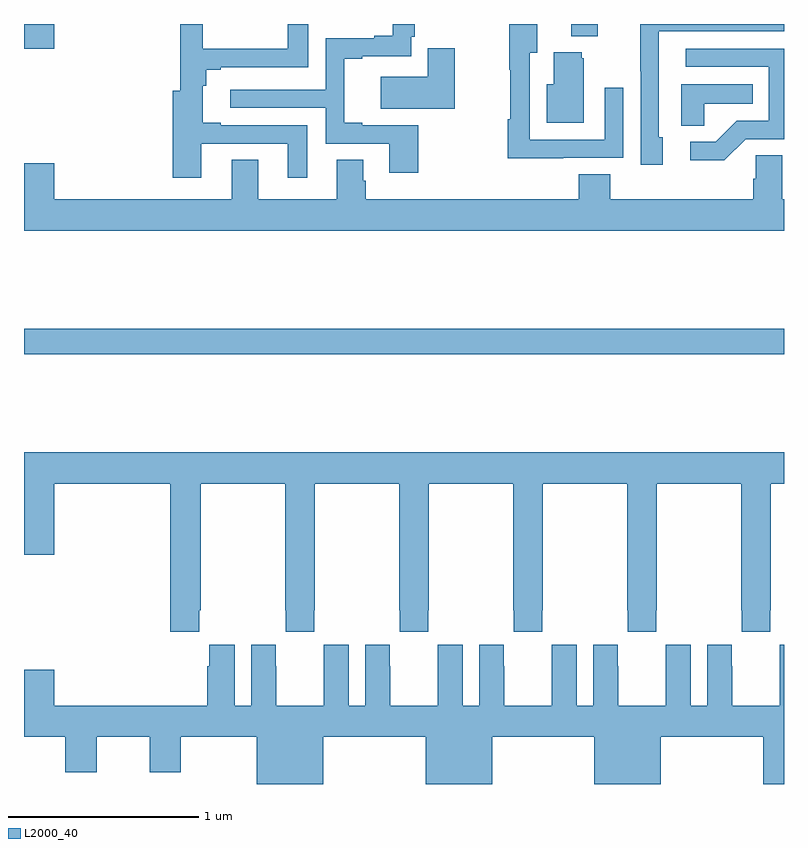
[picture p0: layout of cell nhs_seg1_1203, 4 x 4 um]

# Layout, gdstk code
import gdstk
lib = gdstk.Library(unit=1e-6, precision=1e-09)
def R(c, l, rs):  # rectangles x0, y0, x1, y1
    for r in rs: c.add(gdstk.rectangle(r[:2], r[2:], *l))
def P(c, l, *ps):  # polygons
    for p in ps: c.add(gdstk.Polygon(p, *l))
L2000_40 = (2000, 40)

nhs_seg1_1203 = lib.new_cell('nhs_seg1_1203')
R(nhs_seg1_1203, L2000_40, [(177,504.46,181,504.596), (177,506.07,177.16,506.199), (179.879,506.135,180.019,506.199)])
P(nhs_seg1_1203, L2000_40, [(179.837,505.494),(180.153,505.494),(180.153,505.864),(180.057,505.864),(180.057,505.59),(179.661,505.59),(179.661,506.047),(179.701,506.047),(179.701,506.199),(179.553,506.199),(179.553,505.958),(179.56,505.958),(179.56,505.697),(179.545,505.697),(179.545,505.493),(179.837,505.493)],
  [(180.361,505.602),(180.342,505.602),(180.342,506.16),(181,506.16),(181,506.199),(180.244,506.199),(180.244,505.951),(180.246,505.951),(180.246,505.458),(180.361,505.458)],
  [(177.934,505.569),(178.388,505.569),(178.388,505.389),(178.492,505.389),(178.492,505.665),(178.036,505.665),(178.036,505.678),(177.94,505.678),(177.94,505.874),(177.958,505.874),(177.958,505.959),(178.036,505.959),(178.036,505.971),(178.495,505.971),(178.495,506.199),(178.388,506.199),(178.388,506.068),(177.94,506.068),(177.94,506.199),(177.822,506.199),(177.822,505.849),(177.782,505.849),(177.782,505.389),(177.934,505.389)],
  [(179.075,505.665),(178.78,505.665),(178.78,505.678),(178.685,505.678),(178.685,506.016),(178.78,506.016),(178.78,506.028),(179.037,506.028),(179.037,506.131),(179.057,506.131),(179.057,506.199),(178.94,506.199),(178.94,506.137),(178.844,506.137),(178.844,506.124),(178.587,506.124),(178.587,505.854),(178.086,505.854),(178.086,505.758),(178.587,505.758),(178.587,505.569),(178.922,505.569),(178.922,505.416),(179.075,505.416)],
  [(179.266,506.071),(179.126,506.071),(179.126,505.921),(178.878,505.921),(178.878,505.754),(179.266,505.754)],
  [(180.798,505.593),(181,505.593),(181,506.07),(180.483,506.07),(180.483,505.974),(180.921,505.974),(180.921,505.689),(180.752,505.689),(180.641,505.578),(180.507,505.578),(180.507,505.481),(180.685,505.481)],
  [(179.947,506.019),(179.936,506.019),(179.936,506.05),(179.789,506.05),(179.789,505.882),(179.75,505.882),(179.75,505.679),(179.947,505.679)],
  [(180.579,505.778),(180.836,505.778),(180.836,505.882),(180.458,505.882),(180.458,505.663),(180.579,505.663)],
  [(181,505.276),(180.991,505.276),(180.991,505.508),(180.852,505.508),(180.852,505.385),(180.839,505.385),(180.839,505.276),(180.086,505.276),(180.086,505.409),(179.921,505.409),(179.921,505.276),(178.799,505.276),(178.799,505.374),(178.786,505.374),(178.786,505.484),(178.646,505.484),(178.646,505.276),(178.234,505.276),(178.234,505.484),(178.094,505.484),(178.094,505.276),(177.16,505.276),(177.16,505.465),(177,505.465),(177,505.112),(181,505.112)],
  [(177.923,503.113),(177.93,503.113),(177.93,503.78),(178.375,503.78),(178.375,503.113),(178.377,503.113),(178.377,503.001),(178.527,503.001),(178.527,503.113),(178.53,503.113),(178.53,503.78),(178.975,503.78),(178.975,503.113),(178.977,503.113),(178.977,503.001),(179.127,503.001),(179.127,503.113),(179.13,503.113),(179.13,503.78),(179.575,503.78),(179.575,503.113),(179.577,503.113),(179.577,503.001),(179.727,503.001),(179.727,503.113),(179.73,503.113),(179.73,503.78),(180.175,503.78),(180.175,503.113),(180.177,503.113),(180.177,503.001),(180.327,503.001),(180.327,503.113),(180.33,503.113),(180.33,503.78),(180.775,503.78),(180.775,503.113),(180.777,503.113),(180.777,503.001),(180.927,503.001),(180.927,503.113),(180.93,503.113),(180.93,503.78),(181,503.78),(181,503.944),(177,503.944),(177,503.406),(177.16,503.406),(177.16,503.78),(177.77,503.78),(177.77,503.001),(177.923,503.001)],
  [(178.576,502.448),(179.114,502.448),(179.114,502.199),(179.464,502.199),(179.464,502.448),(180.002,502.448),(180.002,502.199),(180.352,502.199),(180.352,502.448),(180.89,502.448),(180.89,502.199),(181,502.199),(181,502.933),(180.978,502.933),(180.978,502.82),(180.977,502.82),(180.977,502.612),(180.727,502.612),(180.727,502.82),(180.726,502.82),(180.726,502.933),(180.596,502.933),(180.596,502.612),(180.508,502.612),(180.508,502.933),(180.378,502.933),(180.378,502.82),(180.377,502.82),(180.377,502.612),(180.127,502.612),(180.127,502.82),(180.126,502.82),(180.126,502.933),(179.996,502.933),(179.996,502.612),(179.908,502.612),(179.908,502.933),(179.778,502.933),(179.778,502.82),(179.777,502.82),(179.777,502.612),(179.527,502.612),(179.527,502.82),(179.526,502.82),(179.526,502.933),(179.396,502.933),(179.396,502.612),(179.308,502.612),(179.308,502.933),(179.178,502.933),(179.178,502.82),(179.177,502.82),(179.177,502.612),(178.927,502.612),(178.927,502.82),(178.926,502.82),(178.926,502.933),(178.796,502.933),(178.796,502.612),(178.708,502.612),(178.708,502.933),(178.578,502.933),(178.578,502.82),(178.577,502.82),(178.577,502.612),(178.327,502.612),(178.327,502.82),(178.326,502.82),(178.326,502.933),(178.196,502.933),(178.196,502.612),(178.108,502.612),(178.108,502.933),(177.974,502.933),(177.974,502.82),(177.965,502.82),(177.965,502.612),(177.16,502.612),(177.16,502.801),(177,502.801),(177,502.448),(177.218,502.448),(177.218,502.26),(177.382,502.26),(177.382,502.448),(177.662,502.448),(177.662,502.26),(177.826,502.26),(177.826,502.448),(178.226,502.448),(178.226,502.199),(178.576,502.199)])

lib.write_gds('nhs_seg1_1203.gds')
